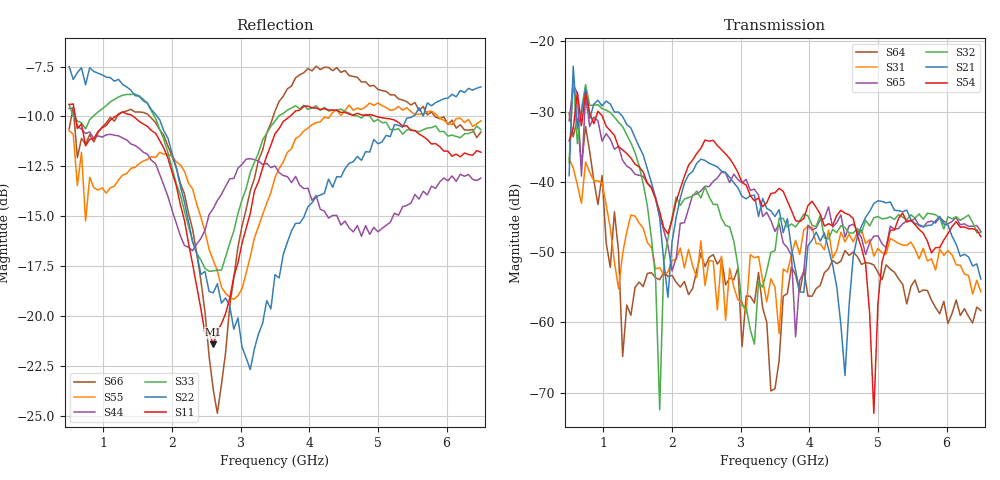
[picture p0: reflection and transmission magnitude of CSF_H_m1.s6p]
!Keysight Technologies,M9804A,MY58100912,A.14.10.03
!Date: Thursday, April 27, 2023 10:28:33
!Correction: S11(C  6-Port  )
!S12(C  6-Port  )
!S13(C  6-Port  )
!S14(C  6-Port  )
!S15(C  6-Port  )
!S16(C  6-Port  )
!S21(C  6-Port  )
!S22(C  6-Port  )
!S23(C  6-Port  )
!S24(C  6-Port  )
!S25(C  6-Port  )
!S26(C  6-Port  )
!S31(C  6-Port  )
!S32(C  6-Port  )
!S33(C  6-Port  )
!S34(C  6-Port  )
!S35(C  6-Port  )
!S36(C  6-Port  )
!S41(C  6-Port  )
!S42(C  6-Port  )
!S43(C  6-Port  )
!S44(C  6-Port  )
!S45(C  6-Port  )
!S46(C  6-Port  )
!S51(C  6-Port  )
!S52(C  6-Port  )
!S53(C  6-Port  )
!S54(C  6-Port  )
!S55(C  6-Port  )
!S56(C  6-Port  )
!S61(C  6-Port  )
!S62(C  6-Port  )
!S63(C  6-Port  )
!S64(C  6-Port  )
!S65(C  6-Port  )
!S66(C  6-Port  )
!S6P File: Measurement: :
# Hz S  RI  R 50
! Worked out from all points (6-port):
!   101 points, 500 MHz to 6.5 GHz, reference 50 ohm
!   strongest paths, dB at 500 MHz, 2 GHz, 3.5 GHz, 5 GHz, 6.5 GHz:
!     S54: -34.2, -45.4, -41.6, -57.3, -47.8
!     S21: -39.1, -48.5, -44.9, -42.7, -53.8
!     S32: -37.3, -45.1, -49.8, -44.9, -47.2
!     S65: -31.3, -52.7, -47.0, -47.7, -47.1
!     S31: -36.7, -51.2, -55.0, -49.5, -55.6
!     S64: -30.2, -53.3, -69.4, -52.9, -58.3
!   lowest |S11| = -21.4 dB at 2.6 GHz (marker M1), VSWR 1.19, Z = 42.5 + j2.17 ohm
!   |S11| at or under -10 dB: 590.5 MHz to 1.175 GHz (584.4 MHz wide, 66.2 % of centre); 1.435 GHz to 3.715 GHz (2.28 GHz wide, 88.6 % of centre); 4.978 GHz to end of sweep
